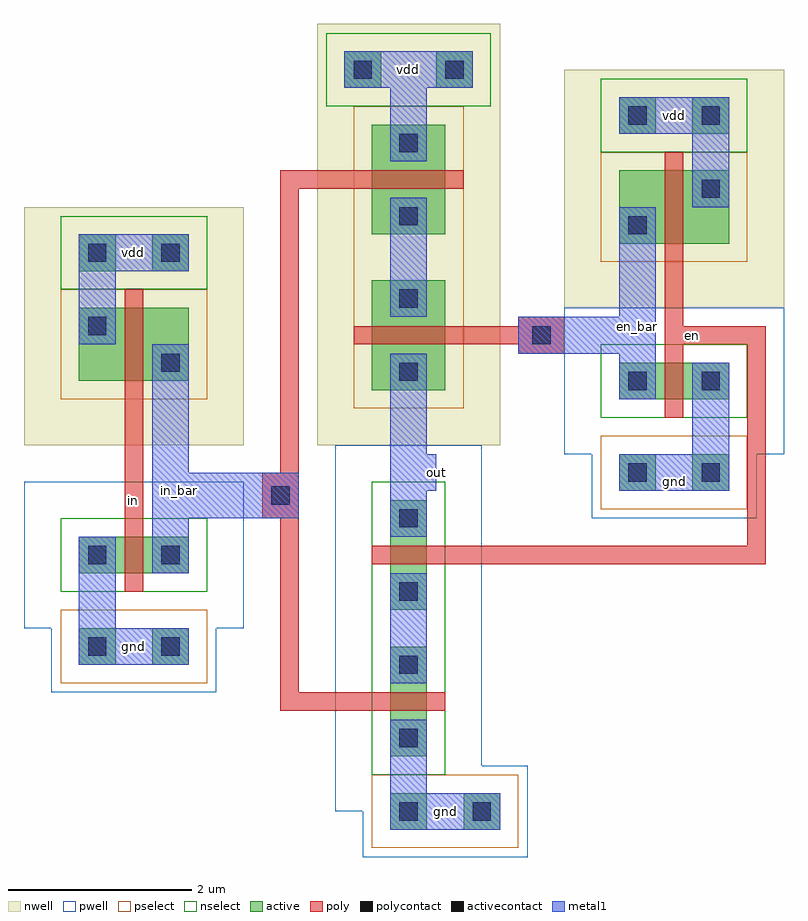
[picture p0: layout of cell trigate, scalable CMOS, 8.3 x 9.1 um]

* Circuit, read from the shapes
.subckt trigate en en_bar gnd in in_bar out vdd
M1 in_bar in gnd gnd nfet w=0.4u l=0.2u
M2 n1 in_bar gnd gnd nfet w=0.4u l=0.2u
M3 out en n1 gnd nfet w=0.4u l=0.2u
M4 gnd en en_bar gnd nfet w=0.4u l=0.2u
M5 in_bar in vdd vdd pfet w=0.8u l=0.2u
M6 n2 en_bar out vdd pfet w=0.8u l=0.2u
M7 vdd in_bar n2 vdd pfet w=0.8u l=0.2u
M8 vdd en en_bar vdd pfet w=0.8u l=0.2u
.ends

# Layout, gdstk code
import gdstk
lib = gdstk.Library(unit=1e-6, precision=1e-09)
def R(c, l, rs):  # rectangles x0, y0, x1, y1
    for r in rs: c.add(gdstk.rectangle(r[:2], r[2:], *l))
def A(c, l, x, y, w, h, nx, ny, dx, dy):  # array of equal rectangles
    R(c, l, [(x+i*dx, y+j*dy, x+i*dx+w, y+j*dy+h) for i in range(nx) for j in range(ny)])
pwell = (41, 0)
nwell = (42, 0)
active = (43, 0)
pselect = (44, 0)
nselect = (45, 0)
poly = (46, 0)
polycontact = (47, 0)
activecontact = (48, 0)
metal1 = (49, 0)

trigate = lib.new_cell('trigate')
R(trigate, pwell, [(2.8,-6.9,4.6,-6.4), (2.5,-6.4,4.6,-5.9), (2.5,-5.9,4.1,-2.4), (-0.6,-5.1,1.2,-4.4), (-0.9,-4.4,1.5,-2.8), (5.3,-3.2,7.1,-2.5), (5,-2.5,7.4,-0.9)])
R(trigate, nwell, [(-0.9,-2.4,1.5,0.2), (2.3,-2.4,4.3,2.2), (5,-0.9,7.4,1.7)])
R(trigate, active, [(3.1,-6.6,3.5,-6.2), (3.9,-6.6,4.3,-6.2), (3.1,-5.8,3.5,-4.6), (-0.3,-4.8,0.1,-4.4), (0.5,-4.8,0.9,-4.4), (3.1,-4.2,3.5,-3), (-0.3,-3.8,0.9,-3.4), (5.6,-2.9,6,-2.5), (6.4,-2.9,6.8,-2.5), (5.6,-1.9,6.8,-1.5), (2.9,-1.8,3.7,-0.6), (-0.3,-1.7,0.9,-0.9), (-0.3,-0.5,0.1,-0.1), (0.5,-0.5,0.9,-0.1), (5.6,-0.2,6.8,0.6), (2.9,-0.1,3.7,1.1), (5.6,1,6,1.4), (6.4,1,6.8,1.4), (2.6,1.5,3,1.9), (3.6,1.5,4,1.9)])
R(trigate, pselect, [(2.9,-6.8,4.5,-6), (-0.5,-5,1.1,-4.2), (5.4,-3.1,7,-2.3), (2.7,-2,3.9,1.3), (-0.5,-1.9,1.1,-0.7), (5.4,-0.4,7,0.8)])
R(trigate, nselect, [(2.9,-6,3.7,-2.8), (-0.5,-4,1.1,-3.2), (5.4,-2.1,7,-1.3), (-0.5,-0.7,1.1,0.1), (5.4,0.8,7,1.6), (2.4,1.3,4.2,2.1)])
R(trigate, poly, [(1.9,-5.3,3.7,-5.1), (1.9,-5.1,2.1,-3.2), (0.2,-4,0.4,-0.7), (2.9,-3.7,7.2,-3.5), (7,-3.5,7.2,-1.3), (1.7,-3.2,2.1,-2.7), (1.9,-2.7,2.1,0.4), (6.1,-2.1,6.3,-1.3), (4.5,-1.4,5,-1.3), (2.7,-1.3,5,-1.1), (6.1,-1.3,7.2,-1.1), (4.5,-1.1,5,-1), (6.1,-1.1,6.3,0.8), (1.9,0.4,3.9,0.6)])
R(trigate, polycontact, [(1.8,-3.05,2,-2.85), (4.65,-1.3,4.85,-1.1)])
A(trigate, activecontact, 3.2, -6.5, 0.2, 0.2, 1, 5, 0, 0.8)
R(trigate, activecontact, [(4,-6.5,4.2,-6.3), (-0.2,-4.7,0,-4.5), (0.6,-4.7,0.8,-4.5), (-0.2,-3.7,0,-3.5), (0.6,-3.7,0.8,-3.5), (5.7,-2.8,5.9,-2.6), (6.5,-2.8,6.7,-2.6), (5.7,-1.8,5.9,-1.6), (6.5,-1.8,6.7,-1.6), (3.2,-1.7,3.4,-1.5), (0.6,-1.6,0.8,-1.4), (-0.2,-1.2,0,-1), (3.2,-0.9,3.4,-0.7), (-0.2,-0.4,0,-0.2), (0.6,-0.4,0.8,-0.2), (5.7,-0.1,5.9,0.1), (3.2,0,3.4,0.2), (6.5,0.3,6.7,0.5), (3.2,0.8,3.4,1), (5.7,1.1,5.9,1.3), (6.5,1.1,6.7,1.3), (2.7,1.6,2.9,1.8), (3.7,1.6,3.9,1.8)])
R(trigate, metal1, [(3.1,-6.6,4.3,-6.2), (3.1,-6.2,3.5,-5.4), (3.1,-5,3.5,-3.8), (-0.3,-4.8,0.9,-4.4), (-0.3,-4.4,0.1,-3.4), (0.5,-3.8,0.9,-3.2), (3.1,-3.4,3.5,-2.9), (0.5,-3.2,2.1,-2.7), (3.1,-2.9,3.6,-2.5), (5.6,-2.9,6.8,-2.5), (0.5,-2.7,0.9,-1.3), (3.1,-2.5,3.5,-1.4), (6.4,-2.5,6.8,-1.5), (5.6,-1.9,6,-1.4), (4.5,-1.4,6,-1), (-0.3,-1.3,0.1,-0.5), (3.1,-1,3.5,0.3), (5.6,-1,6,0.2), (-0.3,-0.5,0.9,-0.1), (6.4,0.2,6.8,1), (3.1,0.7,3.5,1.5), (5.6,1,6.8,1.4), (2.6,1.5,4,1.9)])
trigate.add(gdstk.Label('in', (0.3,-3), layer=46, texttype=0))
trigate.add(gdstk.Label('gnd', (0.3,-4.6), layer=49, texttype=0))
trigate.add(gdstk.Label('gnd', (3.7,-6.4), layer=49, texttype=0))
trigate.add(gdstk.Label('vdd', (3.3,1.7), layer=49, texttype=0))
trigate.add(gdstk.Label('vdd', (0.3,-0.3), layer=49, texttype=0))
trigate.add(gdstk.Label('vdd', (6.2,1.2), layer=49, texttype=0))
trigate.add(gdstk.Label('gnd', (6.2,-2.8), layer=49, texttype=0))
trigate.add(gdstk.Label('out', (3.6,-2.7), layer=49, texttype=0))
trigate.add(gdstk.Label('en', (6.4,-1.2), layer=46, texttype=0))
trigate.add(gdstk.Label('in_bar', (0.8,-2.9), layer=49, texttype=0))
trigate.add(gdstk.Label('en_bar', (5.8,-1.1), layer=49, texttype=0))

lib.write_gds('trigate.gds')
